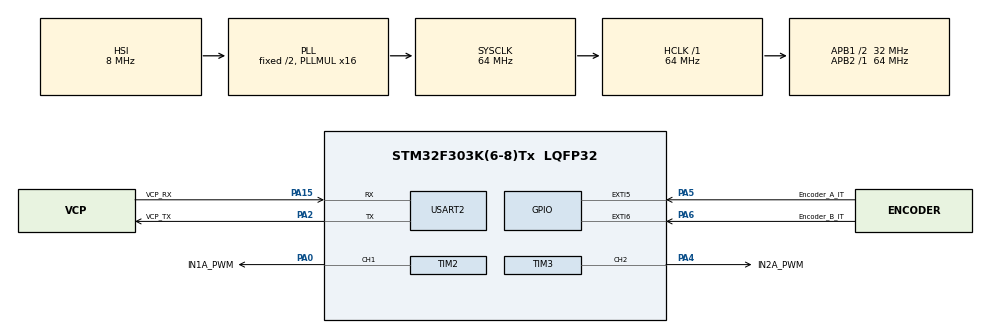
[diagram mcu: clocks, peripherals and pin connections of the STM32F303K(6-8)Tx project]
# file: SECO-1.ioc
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Mcu.Family=STM32F3
Mcu.Name=STM32F303K(6-8)Tx
Mcu.Package=LQFP32
NVIC.EXTI9_5_IRQn=true\:0\:0\:false\:false\:true\:true
NVIC.PriorityGroup=NVIC_PRIORITYGROUP_4
NVIC.TIM6_DAC1_IRQn=true\:0\:0\:false\:false\:true\:true
PA0.GPIO_Label=IN1A_PWM
PA0.Signal=S_TIM2_CH1_ETR
PA13.GPIO_Label=SWDIO
PA13.Mode=Serial_Wire
PA13.Signal=SYS_JTMS-SWDIO
PA14.GPIO_Label=SWCLK
PA14.Mode=Serial_Wire
PA14.Signal=SYS_JTCK-SWCLK
PA15.GPIO_Label=VCP_RX
PA15.Mode=Asynchronous
PA15.Signal=USART2_RX
PA2.GPIO_Label=VCP_TX
PA2.Mode=Asynchronous
PA2.Signal=USART2_TX
PA4.GPIO_Label=IN2A_PWM
PA4.Signal=S_TIM3_CH2
PA5.GPIO_Label=Encoder_A_IT
PA5.GPIO_ModeDefaultEXTI=GPIO_MODE_IT_RISING_FALLING
PA5.Signal=GPXTI5
PA6.GPIO_Label=Encoder_B_IT
PA6.GPIO_ModeDefaultEXTI=GPIO_MODE_IT_RISING_FALLING
PA6.Signal=GPXTI6
PF0\ /\ OSC_IN.GPIO_Label=MCO
PF0\ /\ OSC_IN.Mode=HSE-External-Clock-Source
PF0\ /\ OSC_IN.Signal=RCC_OSC_IN
ProjectManager.HeapSize=0x200
ProjectManager.StackSize=0x400
ProjectManager.TargetToolchain=TrueSTUDIO
RCC.AHBFreq_Value=64000000
RCC.APB1CLKDivider=RCC_HCLK_DIV2
RCC.APB1Freq_Value=32000000
RCC.APB1TimFreq_Value=64000000
RCC.APB2Freq_Value=64000000
RCC.APB2TimFreq_Value=64000000
RCC.CortexFreq_Value=64000000
RCC.HCLKFreq_Value=64000000
RCC.HSE_VALUE=8000000
RCC.HSI_VALUE=8000000
RCC.PLLMUL=RCC_PLL_MUL16
RCC.SYSCLKFreq_VALUE=64000000
RCC.SYSCLKSourceVirtual=RCC_SYSCLKSOURCE_PLLCLK
SH.S_TIM2_CH1_ETR.0=TIM2_CH1,PWM Generation1 CH1
SH.S_TIM3_CH2.0=TIM3_CH2,PWM Generation2 CH2
TIM2.Channel-PWM\ Generation1\ CH1=TIM_CHANNEL_1
TIM2.Period=1199
TIM2.Prescaler=1
TIM2.Pulse-PWM\ Generation1\ CH1=600
TIM3.Channel-PWM\ Generation2\ CH2=TIM_CHANNEL_2
TIM3.Period=1199
TIM3.Prescaler=1
TIM3.Pulse-PWM\ Generation2\ CH2=600
TIM6.Period=3999
TIM6.Prescaler=15
USART2.VirtualMode-Asynchronous=VM_ASYNC
VP_TIM2_VS_ClockSourceINT.Mode=Internal
VP_TIM3_VS_ClockSourceINT.Mode=Internal
VP_TIM6_VS_ClockSourceINT.Mode=Enable_Timer
board=NUCLEO-F303K8

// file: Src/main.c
/* USER CODE BEGIN Header */
/**
  ******************************************************************************
  * @file           : main.c
  * @brief          : Main program body
  ******************************************************************************
  ** This notice applies to any and all portions of this file
  * that are not between comment pairs USER CODE BEGIN and
  * USER CODE END. Other portions of this file, whether
  * inserted by the user or by software development tools
  * are owned by their respective copyright owners.
  *
  * COPYRIGHT(c) 2019 STMicroelectronics
  *
  * Redistribution and use in source and binary forms, with or without modification,
  * are permitted provided that the following conditions are met:
  *   1. Redistributions of source code must retain the above copyright notice,
  *      this list of conditions and the following disclaimer.
  *   2. Redistributions in binary form must reproduce the above copyright notice,
  *      this list of conditions and the following disclaimer in the documentation
  *      and/or other materials provided with the distribution.
  *   3. Neither the name of STMicroelectronics nor the names of its contributors
  *      may be used to endorse or promote products derived from this software
  *      without specific prior written permission.
  *
  * THIS SOFTWARE IS PROVIDED BY THE COPYRIGHT HOLDERS AND CONTRIBUTORS "AS IS"
  * AND ANY EXPRESS OR IMPLIED WARRANTIES, INCLUDING, BUT NOT LIMITED TO, THE
  * IMPLIED WARRANTIES OF MERCHANTABILITY AND FITNESS FOR A PARTICULAR PURPOSE ARE
  * DISCLAIMED. IN NO EVENT SHALL THE COPYRIGHT HOLDER OR CONTRIBUTORS BE LIABLE
  * FOR ANY DIRECT, INDIRECT, INCIDENTAL, SPECIAL, EXEMPLARY, OR CONSEQUENTIAL
  * DAMAGES (INCLUDING, BUT NOT LIMITED TO, PROCUREMENT OF SUBSTITUTE GOODS OR
  * SERVICES; LOSS OF USE, DATA, OR PROFITS; OR BUSINESS INTERRUPTION) HOWEVER
  * CAUSED AND ON ANY THEORY OF LIABILITY, WHETHER IN CONTRACT, STRICT LIABILITY,
  * OR TORT (INCLUDING NEGLIGENCE OR OTHERWISE) ARISING IN ANY WAY OUT OF THE USE
  * OF THIS SOFTWARE, EVEN IF ADVISED OF THE POSSIBILITY OF SUCH DAMAGE.
  *
  ******************************************************************************
  */
/* USER CODE END Header */

#include "main.h"

TIM_HandleTypeDef htim2;
TIM_HandleTypeDef htim3;
TIM_HandleTypeDef htim6;

UART_HandleTypeDef huart2;

/* USER CODE BEGIN PV */
static int n_pulsos = 0;
static float n_pulsos_array[1200];
static float n_pulsos_media[1200];
static uint16_t cuenta_1ms = 0;

/* USER CODE END PV */

void SystemClock_Config(void);
static void MX_GPIO_Init(void);
static void MX_USART2_UART_Init(void);
static void MX_TIM2_Init(void);
static void MX_TIM3_Init(void);
static void MX_TIM6_Init(void);

int main(void)
{

  /* MCU Configuration--------------------------------------------------------*/

  /* Reset of all peripherals, Initializes the Flash interface and the Systick. */
  HAL_Init();

  /* Configure the system clock */
  SystemClock_Config();

  /* Initialize all configured peripherals */
  MX_GPIO_Init();
  MX_USART2_UART_Init();
  MX_TIM2_Init();
  MX_TIM3_Init();
  MX_TIM6_Init();
  /* USER CODE BEGIN 2 */
  media(4, 10); // Llamamos a la funcion que realiza la media, con 4V, 10 repeticiones
  //mueve_motor(4);
  /* USER CODE END 2 */

  /* Infinite loop */
  while (1)
  {

  }
}

void SystemClock_Config(void)
{
  RCC_OscInitTypeDef RCC_OscInitStruct = {0};
  RCC_ClkInitTypeDef RCC_ClkInitStruct = {0};

  /**Initializes the CPU, AHB and APB busses clocks
  */
  RCC_OscInitStruct.OscillatorType = RCC_OSCILLATORTYPE_HSI;
  RCC_OscInitStruct.HSIState = RCC_HSI_ON;
  RCC_OscInitStruct.HSICalibrationValue = RCC_HSICALIBRATION_DEFAULT;
  RCC_OscInitStruct.PLL.PLLState = RCC_PLL_ON;
  RCC_OscInitStruct.PLL.PLLSource = RCC_PLLSOURCE_HSI;
  RCC_OscInitStruct.PLL.PLLMUL = RCC_PLL_MUL16;
  if (HAL_RCC_OscConfig(&RCC_OscInitStruct) != HAL_OK)
  {
    Error_Handler();
  }
  /**Initializes the CPU, AHB and APB busses clocks
  */
  RCC_ClkInitStruct.ClockType = RCC_CLOCKTYPE_HCLK|RCC_CLOCKTYPE_SYSCLK
                              |RCC_CLOCKTYPE_PCLK1|RCC_CLOCKTYPE_PCLK2;
  RCC_ClkInitStruct.SYSCLKSource = RCC_SYSCLKSOURCE_PLLCLK;
  RCC_ClkInitStruct.AHBCLKDivider = RCC_SYSCLK_DIV1;
  RCC_ClkInitStruct.APB1CLKDivider = RCC_HCLK_DIV2;
  RCC_ClkInitStruct.APB2CLKDivider = RCC_HCLK_DIV1;

  if (HAL_RCC_ClockConfig(&RCC_ClkInitStruct, FLASH_LATENCY_2) != HAL_OK)
  {
    Error_Handler();
  }
}

static void MX_TIM2_Init(void)
{

  TIM_ClockConfigTypeDef sClockSourceConfig = {0};
  TIM_MasterConfigTypeDef sMasterConfig = {0};
  TIM_OC_InitTypeDef sConfigOC = {0};

  htim2.Instance = TIM2;
  htim2.Init.Prescaler = 1;
  htim2.Init.CounterMode = TIM_COUNTERMODE_UP;
  htim2.Init.Period = 1199;
  htim2.Init.ClockDivision = TIM_CLOCKDIVISION_DIV1;
  htim2.Init.AutoReloadPreload = TIM_AUTORELOAD_PRELOAD_DISABLE;
  if (HAL_TIM_Base_Init(&htim2) != HAL_OK)
  {
    Error_Handler();
  }
  sClockSourceConfig.ClockSource = TIM_CLOCKSOURCE_INTERNAL;
  if (HAL_TIM_ConfigClockSource(&htim2, &sClockSourceConfig) != HAL_OK)
  {
    Error_Handler();
  }
  if (HAL_TIM_PWM_Init(&htim2) != HAL_OK)
  {
    Error_Handler();
  }
  sMasterConfig.MasterOutputTrigger = TIM_TRGO_RESET;
  sMasterConfig.MasterSlaveMode = TIM_MASTERSLAVEMODE_DISABLE;
  if (HAL_TIMEx_MasterConfigSynchronization(&htim2, &sMasterConfig) != HAL_OK)
  {
    Error_Handler();
  }
  sConfigOC.OCMode = TIM_OCMODE_PWM1;
  sConfigOC.Pulse = 600;
  sConfigOC.OCPolarity = TIM_OCPOLARITY_HIGH;
  sConfigOC.OCFastMode = TIM_OCFAST_DISABLE;
  if (HAL_TIM_PWM_ConfigChannel(&htim2, &sConfigOC, TIM_CHANNEL_1) != HAL_OK)
  {
    Error_Handler();
  }
  HAL_TIM_MspPostInit(&htim2);

}

static void MX_TIM3_Init(void)
{

  TIM_ClockConfigTypeDef sClockSourceConfig = {0};
  TIM_MasterConfigTypeDef sMasterConfig = {0};
  TIM_OC_InitTypeDef sConfigOC = {0};

  htim3.Instance = TIM3;
  htim3.Init.Prescaler = 1;
  htim3.Init.CounterMode = TIM_COUNTERMODE_UP;
  htim3.Init.Period = 1199;
  htim3.Init.ClockDivision = TIM_CLOCKDIVISION_DIV1;
  htim3.Init.AutoReloadPreload = TIM_AUTORELOAD_PRELOAD_DISABLE;
  if (HAL_TIM_Base_Init(&htim3) != HAL_OK)
  {
    Error_Handler();
  }
  sClockSourceConfig.ClockSource = TIM_CLOCKSOURCE_INTERNAL;
  if (HAL_TIM_ConfigClockSource(&htim3, &sClockSourceConfig) != HAL_OK)
  {
    Error_Handler();
  }
  if (HAL_TIM_PWM_Init(&htim3) != HAL_OK)
  {
    Error_Handler();
  }
  sMasterConfig.MasterOutputTrigger = TIM_TRGO_RESET;
  sMasterConfig.MasterSlaveMode = TIM_MASTERSLAVEMODE_DISABLE;
  if (HAL_TIMEx_MasterConfigSynchronization(&htim3, &sMasterConfig) != HAL_OK)
  {
    Error_Handler();
  }
  sConfigOC.OCMode = TIM_OCMODE_PWM1;
  sConfigOC.Pulse = 600;
  sConfigOC.OCPolarity = TIM_OCPOLARITY_HIGH;
  sConfigOC.OCFastMode = TIM_OCFAST_DISABLE;
  if (HAL_TIM_PWM_ConfigChannel(&htim3, &sConfigOC, TIM_CHANNEL_2) != HAL_OK)
  {
    Error_Handler();
  }
  HAL_TIM_MspPostInit(&htim3);

}

static void MX_TIM6_Init(void)
{

  TIM_MasterConfigTypeDef sMasterConfig = {0};

  htim6.Instance = TIM6;
  htim6.Init.Prescaler = 15;
  htim6.Init.CounterMode = TIM_COUNTERMODE_UP;
  htim6.Init.Period = 3999;
  htim6.Init.AutoReloadPreload = TIM_AUTORELOAD_PRELOAD_DISABLE;
  if (HAL_TIM_Base_Init(&htim6) != HAL_OK)
  {
    Error_Handler();
  }
  sMasterConfig.MasterOutputTrigger = TIM_TRGO_RESET;
  sMasterConfig.MasterSlaveMode = TIM_MASTERSLAVEMODE_DISABLE;
  if (HAL_TIMEx_MasterConfigSynchronization(&htim6, &sMasterConfig) != HAL_OK)
  {
    Error_Handler();
  }

}

static void MX_USART2_UART_Init(void)
{

  huart2.Instance = USART2;
  huart2.Init.BaudRate = 38400;
  huart2.Init.WordLength = UART_WORDLENGTH_8B;
  huart2.Init.StopBits = UART_STOPBITS_1;
  huart2.Init.Parity = UART_PARITY_NONE;
  huart2.Init.Mode = UART_MODE_TX_RX;
  huart2.Init.HwFlowCtl = UART_HWCONTROL_NONE;
  huart2.Init.OverSampling = UART_OVERSAMPLING_16;
  huart2.Init.OneBitSampling = UART_ONE_BIT_SAMPLE_DISABLE;
  huart2.AdvancedInit.AdvFeatureInit = UART_ADVFEATURE_NO_INIT;
  if (HAL_UART_Init(&huart2) != HAL_OK)
  {
    Error_Handler();
  }

}

static void MX_GPIO_Init(void)
{
  GPIO_InitTypeDef GPIO_InitStruct = {0};

  /* GPIO Ports Clock Enable */
  __HAL_RCC_GPIOF_CLK_ENABLE();
  __HAL_RCC_GPIOA_CLK_ENABLE();

  /*Configure GPIO pins : Encoder_A_IT_Pin Encoder_B_IT_Pin */
  GPIO_InitStruct.Pin = Encoder_A_IT_Pin|Encoder_B_IT_Pin;
  GPIO_InitStruct.Mode = GPIO_MODE_IT_RISING_FALLING;
  GPIO_InitStruct.Pull = GPIO_NOPULL;
  HAL_GPIO_Init(GPIOA, &GPIO_InitStruct);

  /* EXTI interrupt init*/
  HAL_NVIC_SetPriority(EXTI9_5_IRQn, 0, 0);
  HAL_NVIC_EnableIRQ(EXTI9_5_IRQn);

}

/* USER CODE BEGIN 4 */
// Llama n_veces a la funcion mueve_motor con un voltaje determinado, realiza la media y las transmite por el puerto serie
void media (float voltaje, uint8_t n_veces) {
	for (uint8_t i=0; i< n_veces; i++){
		mueve_motor(voltaje);
		HAL_Delay(5000);
		for (uint16_t j=0; j<1200; j++){
			n_pulsos_media[j] = (n_pulsos_media[j]*i + n_pulsos_array[j]) / (i+1);
		}
	}
	tx_pulsos();
}

// Transmite por UART las medias de las posiciones guardadas
void tx_pulsos (void) {

	for (int i = 0; i <1200; i++ ) {
		tx_UART_int(&huart2, i, 10);
		uint8_t espacio[] = "    ";
		HAL_UART_Transmit(&huart2, espacio, sizeof(espacio), 10);
		tx_UART_float(&huart2, n_pulsos_media[i], 10);
	}
}

// Guarda las posiciones en un array cada 1 ms
void timer_1ms(void) {

	if (cuenta_1ms == 1200) {	// Cuando pasa el tiempo se detiene el timer
		HAL_TIM_Base_Stop_IT(&htim6);
		n_pulsos = 0;	// Resetamos los pulsos y el contador para posibles test consecutivos
		cuenta_1ms = 0;
		return;
	}

	if (cuenta_1ms == 600) {	// Pasado este tiempo se detiene el motor
		HAL_TIM_PWM_Stop(&htim2, TIM_CHANNEL_1); // Paramos las PWM
		HAL_TIM_PWM_Stop(&htim3, TIM_CHANNEL_2);
	}

	n_pulsos_array[cuenta_1ms] = n_pulsos;	// Guardamos los pulsos detectados en el array
	cuenta_1ms++;	// Incrementamos el contador cada 1 ms
	}

void cuenta_pulsos(void) {	// Cuenta cada pulso recibido por los canales A y B del encoder

	static uint8_t estado_encoder = estado_00;  // Estado actual del encoder
	static uint8_t estado_anterior = estado_00; // Estado anterior del encoder

	estado_anterior = estado_encoder;	// Actualizamos el valor anterior del encoder

	// Asignamos el estado actual de encoder
	if (!(HAL_GPIO_ReadPin(GPIOA, GPIO_PIN_5)) && !(HAL_GPIO_ReadPin(GPIOA, GPIO_PIN_6))) {
		estado_encoder = estado_00;
	}

	if (!(HAL_GPIO_ReadPin(GPIOA, GPIO_PIN_5)) && (HAL_GPIO_ReadPin(GPIOA, GPIO_PIN_6))) {
		estado_encoder = estado_01;
	}

	if ((HAL_GPIO_ReadPin(GPIOA, GPIO_PIN_5)) && !(HAL_GPIO_ReadPin(GPIOA, GPIO_PIN_6))) {
		estado_encoder = estado_10;
	}

	if ((HAL_GPIO_ReadPin(GPIOA, GPIO_PIN_5)) && (HAL_GPIO_ReadPin(GPIOA, GPIO_PIN_6))) {
		estado_encoder = estado_11;
	}

	// Comparamos el valor actual del encoder con el anterior para conocer el sentido de giro
	switch (estado_anterior) {
		case estado_00:	if (estado_encoder == estado_01) { n_pulsos = n_pulsos + 1;}
						//if (estado_encoder == estado_10) { n_pulsos = n_pulsos - 1;}
						else { n_pulsos = n_pulsos - 1;}
						break;
		case estado_01:	if (estado_encoder == estado_11) { n_pulsos = n_pulsos + 1;}
						//if (estado_encoder == estado_00) { n_pulsos = n_pulsos - 1;}
						else { n_pulsos = n_pulsos - 1;}
						break;
		case estado_11:	if (estado_encoder == estado_10) { n_pulsos = n_pulsos + 1;}
						//if (estado_encoder == estado_01) { n_pulsos = n_pulsos - 1;}
						else { n_pulsos = n_pulsos - 1;}
						break;
		case estado_10:	if (estado_encoder == estado_00) { n_pulsos = n_pulsos + 1;}
						//if (estado_encoder == estado_11) { n_pulsos = n_pulsos - 1;}
						else { n_pulsos = n_pulsos - 1;}
						break;
	}
}

// Asigna un ciclo de trabajo correspondiente a un voltaje para mover el motor
void mueve_motor(float voltaje)
{
	uint8_t sentido;
		if (voltaje > 0) {
			sentido = HORARIO;
		}
		else {
			sentido = ANTIHORARIO;
			voltaje = -voltaje;
		}

		int duty_cycle = (int)(voltaje*100)-1;	// Pasamos de voltios a centesimas de voltio, que equivale al duty_cycle
	if (sentido == HORARIO) {

		__HAL_TIM_SET_COMPARE(&htim2, TIM_CHANNEL_1, htim2.Init.Period - duty_cycle);
		//__HAL_TIM_SET_COMPARE(&htim2, TIM_CHANNEL_1, duty_cycle);// Asignamos el duty cycle
		HAL_TIM_PWM_Start(&htim2, TIM_CHANNEL_1);	// Arrancamos el PWM 2
		HAL_TIM_Base_Start_IT(&htim6);				// Arrancamos el timer de 1 ms
	}
	if (sentido == ANTIHORARIO) {

		__HAL_TIM_SET_COMPARE(&htim3, TIM_CHANNEL_2, htim3.Init.Period - duty_cycle); // Asignamos el duty cycle
		//__HAL_TIM_SET_COMPARE(&htim3, TIM_CHANNEL_2, duty_cycle);
		HAL_TIM_PWM_Start(&htim3, TIM_CHANNEL_2);	// Arrancamos el PWM 3
		HAL_TIM_Base_Start_IT(&htim6);				// Arrancamos el timer de 1 ms
	}
}

// Funcion de depuraciСn para transmitir un float por el puerto serie
void tx_UART_float(UART_HandleTypeDef *huart, float data, uint32_t Timeout) {
	int p_entera = data/1;
	int p_decimal = ((data - p_entera)*100)/1;

	tx_UART_int(huart, p_entera, 10);

	uint8_t punto[] = ".";
	HAL_UART_Transmit(huart, punto, 1, 10);

	if (p_decimal < 10) {
		uint8_t cero[] = "0";
		HAL_UART_Transmit(&huart2, cero, 1, 10);
	}

	tx_UART_int(huart, p_decimal, 10);

	uint8_t salto[] = "\r\n";
	HAL_UART_Transmit(huart, salto, 2, 10);

}

// Funcion de depuraciСn para transmitir un int por el puerto serie
void tx_UART_int(UART_HandleTypeDef *huart, int data, uint32_t Timeout)
{

	int size = 1;
	uint8_t negativo = 0;

	if (data < 0) {	// Si los pulsos
		data = -data;
		negativo = 1;
	}

	int numero = data;

	while(numero > 9) {
	  numero =  numero/10;
	  size++;
	}

	char data_char[size];		// String de chars
	uint8_t data_tx[size];	// String de uint8_t

	sprintf(data_char,"%d", data);	// Cada numero del int en un char

	for(uint8_t i=0; i<size; i++ ) {			// Casting de char a uint8_t
		data_tx[i] = (uint8_t) data_char[i];
	}

	if (negativo) {		// Si el numero es negativo, transmite un "-" antes
		uint8_t menos[] = "-";
		HAL_UART_Transmit(huart, menos, 1, 10);
	}
	HAL_UART_Transmit(huart,data_tx,sizeof(data_tx), 10);	// TX por UART del array de uint8_t
}
/* USER CODE END 4 */

void Error_Handler(void)
{
}

/************************ (C) COPYRIGHT STMicroelectronics *****END OF FILE****/
